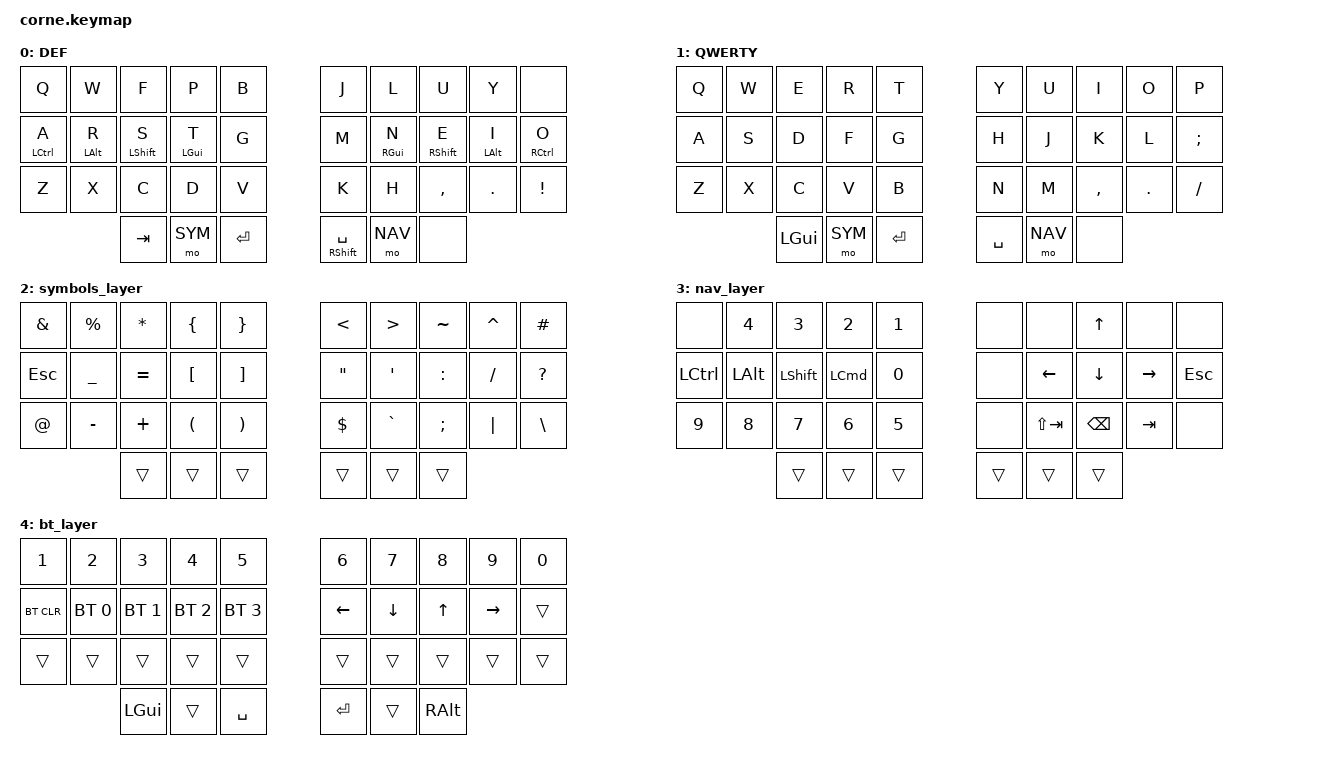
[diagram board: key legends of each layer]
/*
 * Copyright (c) 2020 The ZMK Contributors
 *
 * SPDX-License-Identifier: MIT
 */

#include <behaviors.dtsi>
#include <dt-bindings/zmk/keys.h>
#include <dt-bindings/zmk/bt.h>

// Layer aliases
#define DEF 0
#define QWERTY 1
#define SYM 2
#define NAV 3
#define FUN 4

&mt {
    flavor = "balanced";
    tapping-term-ms = <200>;
};


/ {

        chosen {
		zmk,matrix_transform = &five_column_transform;
	};

        cond_layers {
                compatible = "zmk,conditional-layers";
                // Define FUN layer as tri-state
                func_tristate {
                        if-layers = <NAV SYM>;
                        then-layer = <FUN>;
                };
        };

        keymap {
                compatible = "zmk,keymap";
                default_layer {
                        label = "DEF";
                        bindings = <
// ╭─────────────┬─────────────┬─────────────┬─────────────┬─────────────╮   ╭─────────────┬─────────────┬─────────────┬─────────────┬─────────────╮
     &kp Q         &kp W         &kp F         &kp P         &kp B             &kp J         &kp L         &kp U         &kp Y         &none
// ├─────────────┼─────────────┼─────────────┼─────────────┼─────────────┤   ├─────────────┼─────────────┼─────────────┼─────────────┼─────────────┤
     &mt LCTRL A   &mt LALT R    &mt LSHFT S   &mt LGUI T    &kp G             &kp M         &mt RGUI N    &mt RSHFT E   &mt LALT I    &mt RCTRL O
// ├─────────────┼─────────────┼─────────────┼─────────────┼─────────────┤   ├─────────────┼─────────────┼─────────────┼─────────────┼─────────────┤
     &kp Z         &kp X         &kp C         &kp D         &kp V             &kp K         &kp H         &kp COMMA     &kp DOT       &kp EXCL
// ├─────────────┼─────────────┼─────────────┼─────────────┼─────────────┤   ├─────────────┼─────────────┼─────────────┼─────────────┼─────────────┤
                                 &kp TAB       &mo SYM         &kp RET           &mt RSHFT SPACE &mo NAV       &none
                        >;
                };

                qwerty_layer {
// -----------------------------------------------------------------------------------------
// |  Q  |  W  |  E  |  R  |  T  |--|  Y  |  U   |  I  |  O  |  P  |
// |  A  |  S  |  D  |  F  |  G  |--|  H  |  J   |  K  |  L  |  ;  |
// |  Z  |  X  |  C  |  V  |  B  |--|  N  |  M   |  ,  |  .  |  /  |
                        label = "QWERTY";
                        bindings = <
   &kp Q &kp W &kp E &kp R &kp T   &kp Y &kp U  &kp I     &kp O   &kp P
   &kp A &kp S &kp D &kp F &kp G   &kp H &kp J  &kp K     &kp L   &kp SEMI
   &kp Z &kp X &kp C &kp V &kp B   &kp N &kp M  &kp COMMA &kp DOT &kp FSLH
                    &kp LGUI &mo SYM &kp RET   &kp SPACE &mo NAV &none
                        >;
                };
                symbols_layer {
// -----------------------------------------------------------------------------------------
// |  &  |  %  |  *  |  {  |  }  |--|  <  |  >  |  ~  |  ^  |  #  |
// | ESC |  _  |  =  |  [  |  ]  |--|  "  |  '  |  :  |  /  |  ?  |
// |  @  |  -  |  +  |  (  |  )  |--|  $  |  `  |  ;  |  |  |  \  |

                        bindings = <
   &kp AMPS &kp PRCNT &kp STAR  &kp LBRC &kp RBRC    &kp LT   &kp GT    &kp TILDE &kp CARET &kp HASH
   &kp ESC  &kp UNDER &kp EQUAL &kp LBKT &kp RBKT    &kp DQT  &kp SQT   &kp COLON &kp FSLH  &kp QMARK
   &kp AT   &kp MINUS &kp PLUS  &kp LPAR &kp RPAR    &kp DLLR &kp GRAVE &kp SEMI  &kp PIPE  &kp BSLH
   &trans &trans &trans &trans &trans &trans
                        >;
                };

                nav_layer {
                        bindings = <
// ╭─────────────┬─────────────┬─────────────┬─────────────┬─────────────╮   ╭─────────────┬─────────────┬─────────────┬─────────────┬─────────────╮
     &none         &kp N4        &kp N3        &kp N2        &kp N1            &none         &none         &kp UP        &none         &none
// ├─────────────┼─────────────┼─────────────┼─────────────┼─────────────┤   ├─────────────┼─────────────┼─────────────┼─────────────┼─────────────┤
     &kp LCTRL     &kp LALT      &kp LSHIFT    &kp LCMD      &kp N0            &none         &kp LEFT      &kp DOWN      &kp RIGHT     &kp ESC
// ├─────────────┼─────────────┼─────────────┼─────────────┼─────────────┤   ├─────────────┼─────────────┼─────────────┼─────────────┼─────────────┤
     &kp N9        &kp N8        &kp N7        &kp N6        &kp N5            &none         &kp LS(TAB)   &kp BSPC      &kp TAB         &none
// ├─────────────┼─────────────┼─────────────┼─────────────┼─────────────┤   ├─────────────┼─────────────┼─────────────┼─────────────┼─────────────┤
                                 &trans        &trans        &trans            &trans        &trans        &trans
//                                           ╰─────────────┴─────────────╯   ╰─────────────┴─────────────╯
                        >;
                };

                bt_layer {
// -----------------------------------------------------------------------------------------
// |  TAB |  1  |  2  |  3  |  4  |  5  |   |  6  |  7  |  8  |  9  |  0  | BKSP |
// | BTCLR| BT1 | BT2 | BT3 | BT4 | BT5 |   | LFT | DWN |  UP | RGT |     |      |
// | SHFT |     |     |     |     |     |   |     |     |     |     |     |      |
//                    | GUI |     | SPC |   | ENT |     | ALT |
                        bindings = <
&kp N1       &kp N2       &kp N3       &kp N4       &kp N5         &kp N6   &kp N7   &kp N8 &kp N9    &kp N0
&bt BT_CLR &bt BT_SEL 0 &bt BT_SEL 1 &bt BT_SEL 2 &bt BT_SEL 3  &kp LEFT &kp DOWN &kp UP &kp RIGHT &trans
&trans       &trans       &trans       &trans       &trans         &trans   &trans   &trans &trans    &trans
                          	        &kp LGUI     &trans       &kp SPACE      &kp RET  &trans   &kp RALT
                        >;
                };
        };
};
